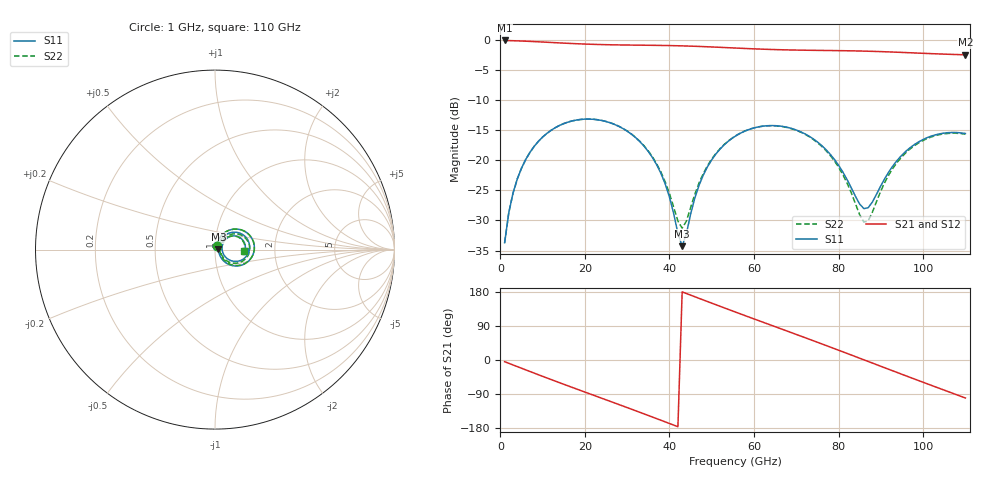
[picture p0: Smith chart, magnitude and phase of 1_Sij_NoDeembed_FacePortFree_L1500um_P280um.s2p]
! Touchstone file exported from HFSS 2024.2.0
!  File:  C:/Users/vaintrug/Documents/Ansoft_Workspace/Comparaison_Calculs_HFSS/1_VarPort.aedt
!  Generated:  03:22:17 PM Jan 21, 2025
!  Design:  1_NoDeembed_FacePortFree
!  Project:  1_VarPort
!  Setup:  Setup1
!  Solution:  Sweep
! Variables:
!  $Lenght = 1500um
!  $PortSize = 280um
!  Gap = 30um
!  Th = 2um
!  X_centralStrip = 20um
!  X_masse = 200um
!  Y_Sub = 1.5mm
!  Z_Box = 400um
!  Z_Sub = 200um
# GHz S MA R 50.000000
! Terminal data exported
! Port[1] = 1
! Port[2] = 2
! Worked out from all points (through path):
!   110 points, 1 GHz to 110 GHz, reference 50 ohm
!   highest |S21| = -0.10 dB at 1 GHz (marker M1); lowest = -2.5 dB at 110 GHz (marker M2)
!   group delay of S21, straight-line fit = 11.6 ps
!   lowest |S11| = -34.3 dB at 43 GHz (marker M3), VSWR 1.04, Z = 52 + j0.0896 ohm
!   |S11| at or under -10 dB: start of sweep to end of sweep
!   |S22| runs from -33.7 to -13.2 dB; largest |S21 - S12| = 2e-15
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1  0.0206 62.5  0.9891 -4.4  0.9891 -4.4  0.02061 62.5
! Gamma 5.97945146466735 49.9339250203923 6.00739166324425 50.1174338946645
! Port Impedance 50 0 50 0
3  0.05344 70.0  0.9842 -13.1  0.9842 -13.1  0.05343 70.0
7  0.1164 58.5  0.9716 -30.3  0.9716 -30.3  0.1164 58.5
14  0.1947 31.3  0.9438 -59.9  0.9438 -59.9  0.1947 31.4
20  0.2196 8.0  0.9233 -84.7  0.9233 -84.7  0.2197 8.2
29  0.1833 -25.8  0.9072 -121.5  0.9072 -121.5  0.1838 -24.9
34  0.1307 -43.0  0.903 -142.3  0.903 -142.3  0.1317 -41.1
38  0.07744 -52.9  0.8993 -159.1  0.8993 -159.1  0.07953 -48.8
43  0.01932 2.6  0.8916 179.7  0.8916 179.7  0.02729 1.2
46  0.04861 57.4  0.8848 166.9  0.8848 166.9  0.05221 47.7
48  0.07532 58.1  0.8794 158.5  0.8794 158.5  0.07755 50.7
52  0.1242 48.4  0.8672 141.6  0.8672 141.6  0.1253 43.1
56  0.162 35.4  0.8543 124.9  0.8543 124.9  0.1624 30.8
65  0.1938 4.4  0.8307 87.9  0.8307 87.9  0.1933 0.0
74  0.1507 -24.5  0.819 50.9  0.819 50.9  0.1491 -29.9
80  0.09084 -36.3  0.8141 25.8  0.8141 25.8  0.08764 -44.0
86  0.03963 -1.1  0.8066 0.4  0.8066 0.4  0.03061 -6.2
87  0.04032 14.0  0.8049 -3.8  0.8049 -3.8  0.03136 14.5
92  0.08122 43.8  0.7944 -25.1  0.7944 -25.1  0.07684 46.9
96  0.1194 38.9  0.7842 -42.0  0.7842 -42.0  0.1163 40.1
101  0.1543 25.8  0.771 -62.9  0.771 -62.9  0.1517 25.6
110  0.1668 -1.8  0.7519 -100.3  0.7519 -100.3  0.1645 -3.3
